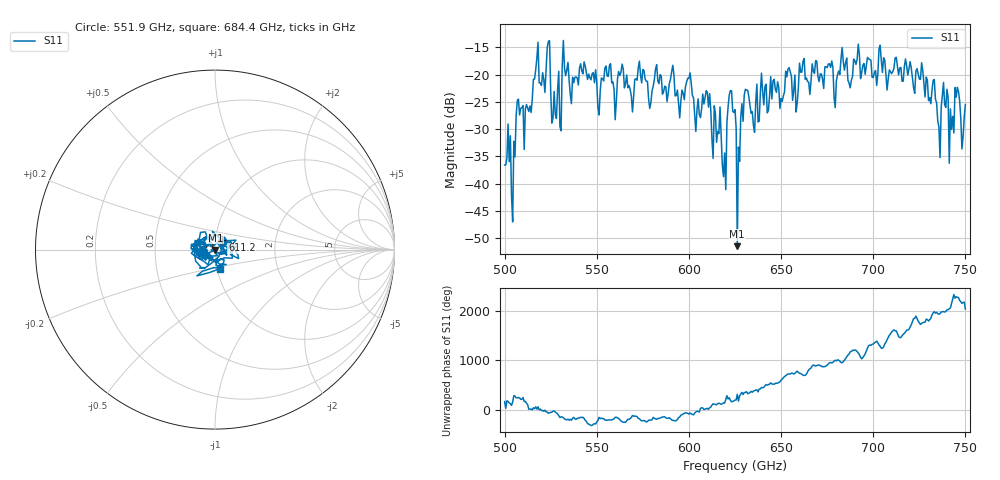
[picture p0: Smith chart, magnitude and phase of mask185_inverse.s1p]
!Created with skrf (http://scikit-rf.org).
# GHz S MA R 50.0
!freq magS11 angS11
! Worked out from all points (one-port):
!   401 points, 500 GHz to 750 GHz, reference 50 ohm
!   lowest |S11| = -51.5 dB at 626.2 GHz (marker M1), VSWR 1.01, Z = 50.2 - j0.172 ohm
!   |S11| at or under -10 dB: start of sweep to end of sweep
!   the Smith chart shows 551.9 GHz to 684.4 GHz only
!   S11 on the Smith chart (normalised r, x): 551.9 GHz: 0.87, -0.02; 611.2 GHz: 1.08, +0.11; 684.4 GHz: 1.03, -0.22
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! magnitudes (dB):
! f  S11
! 500 GHz  -36.6
! 504.4 GHz  -47.0
! 507.5 GHz  -24.5
! 511.9 GHz  -25.5
! 516.9 GHz  -19.1
! 523.8 GHz  -13.9
! 526.9 GHz  -23.1
! 531.2 GHz  -18.4
! 551.9 GHz  -23.0
! 562.5 GHz  -20.1
! 593.8 GHz  -22.8
! 600 GHz  -20.7
! 611.2 GHz  -23.5
! 618.8 GHz  -38.7
! 621.9 GHz  -23.7
! 625 GHz  -26.4
! 626.2 GHz  -51.5
! 631.2 GHz  -22.9
! 634.4 GHz  -26.8
! 656.2 GHz  -24.7
! 684.4 GHz  -19.2
! 687.5 GHz  -22.4
! 718.8 GHz  -20.1
! 735.6 GHz  -29.6
! 738.8 GHz  -25.5
! 742.5 GHz  -30.1
! 745.6 GHz  -22.3
! 750 GHz  -25.5
